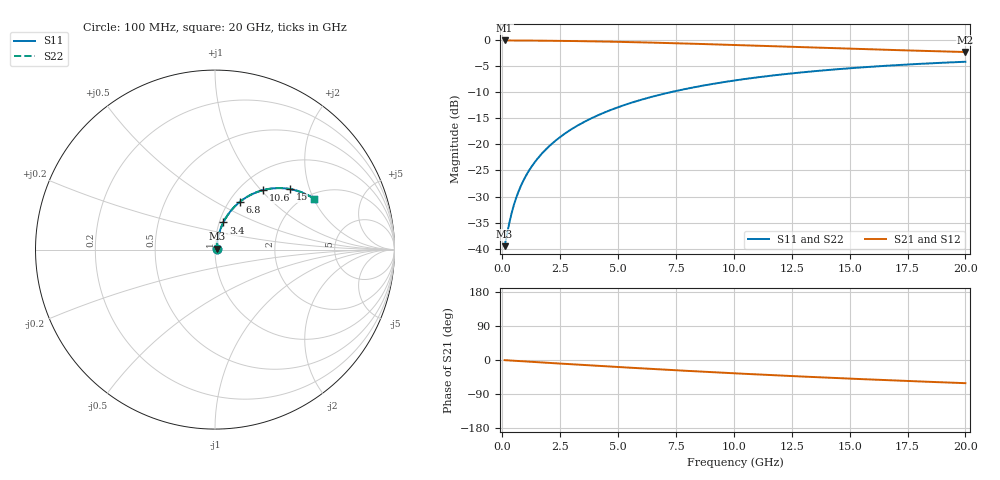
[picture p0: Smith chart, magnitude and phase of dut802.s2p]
! Touchstone file exported from HFSS 2026.1.0
!  File:  C:/ffzhzh/LocalFiles/Ansys_Project_Files/temp_train_TMRDL_802_1783156136_43440.aedt
!  Generated:  05:10:25 PM Jul  4, 2026
!  Design:  TMRDL
!  Project:  temp_train_TMRDL_802_1783156136_43440
! Variables:
!  h_bsmrdl = 2um
!  h_ox = 20um
!  h_rdl = 5um
!  h_sub = 80um
!  h_tmrdl = 3.06um
!  h_tsv = 80um
!  h_via = 3um
!  l_bsmrdl = 300um
!  l_sub = 1303.41um
!  l_tmrdl = 903.41um
!  m_sub = 200um
!  pitch = 43.97um
!  r_tsv = 6um
!  s_tmrdl = 10um
!  w_bsmrdl = 18um
!  w_sub = 500um
!  w_tmrdl = 11.04um
!  x_tsv_center1 = 908.93um
!  x_tsv_center2 = 1226.93um
!  x_tsv_center3 = 2141.38um
!  x_tsv_center4 = 2459.38um
!  x_tsv_center5 = 3373.83um
!  x_tsv_center6 = 3691.83um
# GHz S MA R 50.000000
! Terminal data exported
! Port[1] = TM_RDL1_1_T1
! Port[2] = TM_RDL1_1_T2
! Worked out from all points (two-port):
!   200 points, 100 MHz to 20 GHz, reference 50 ohm
!   highest |S21| = -0.08 dB at 100 MHz (marker M1); lowest = -2.3 dB at 20 GHz (marker M2)
!   |S21| within 3 dB of the highest: start of sweep to end of sweep
!   lowest |S11| = -39.5 dB at 100 MHz (marker M3), VSWR 1.02, Z = 50.9 + j0.496 ohm
!   |S11| at or under -10 dB: start of sweep to 7.27 GHz
!   |S22| runs from -39.5 to -4.2 dB; largest |S21 - S12| = 3.3e-15
!   S11 on the Smith chart (normalised r, x): 100 MHz: 1.02, +0.01; 3.4 GHz: 1.05, +0.32; 6.8 GHz: 1.12, +0.65; 10.6 GHz: 1.27, +1.03; 15 GHz: 1.57, +1.49; 20 GHz: 2.19, +2.01
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0.1  0.01057 27.4  0.9906 -0.4  0.9906 -0.4  0.01057 27.4
! Gamma 0 0 0 0
! Port Impedance 50 0 50 0
0.3  0.01753 55.9  0.9904 -1.2  0.9904 -1.2  0.01753 55.9
0.4  0.0218 62.1  0.9901 -1.5  0.9901 -1.5  0.0218 62.1
0.6  0.03073 68.8  0.9896 -2.3  0.9896 -2.3  0.03073 68.8
0.7  0.03527 70.7  0.9893 -2.7  0.9893 -2.7  0.03527 70.7
0.9  0.0444 73.1  0.9888 -3.4  0.9888 -3.4  0.0444 73.1
1.2  0.05815 75.0  0.9878 -4.6  0.9878 -4.6  0.05815 75.0
1.6  0.07652 75.8  0.9863 -6.1  0.9863 -6.1  0.07652 75.8
2.1  0.09942 75.7  0.984 -7.9  0.984 -7.9  0.09942 75.7
2.7  0.1267 74.7  0.9806 -10.2  0.9806 -10.2  0.1267 74.7
3.4  0.158 73.0  0.9757 -12.7  0.9757 -12.7  0.158 73.0
3.5  0.1624 72.7  0.9749 -13.1  0.9749 -13.1  0.1624 72.7
4.2  0.193 70.7  0.969 -15.6  0.969 -15.6  0.193 70.7
5  0.2269 68.3  0.9612 -18.5  0.9612 -18.5  0.2269 68.3
6.8  0.2987 62.6  0.9405 -24.7  0.9405 -24.7  0.2986 62.6
8.3  0.3531 57.9  0.9207 -29.7  0.9207 -29.7  0.3531 57.9
10.1  0.4118 52.4  0.8954 -35.3  0.8954 -35.3  0.4117 52.5
10.6  0.4268 50.9  0.8882 -36.8  0.8882 -36.8  0.4267 51.0
13.4  0.5009 43.1  0.8483 -44.9  0.8483 -44.9  0.5009 43.2
15  0.5362 39.0  0.8265 -49.1  0.8265 -49.1  0.5362 39.1
16.7  0.5688 34.8  0.8047 -53.4  0.8047 -53.4  0.5688 34.9
20  0.6192 27.2  0.7674 -61.2  0.7674 -61.2  0.6192 27.4
